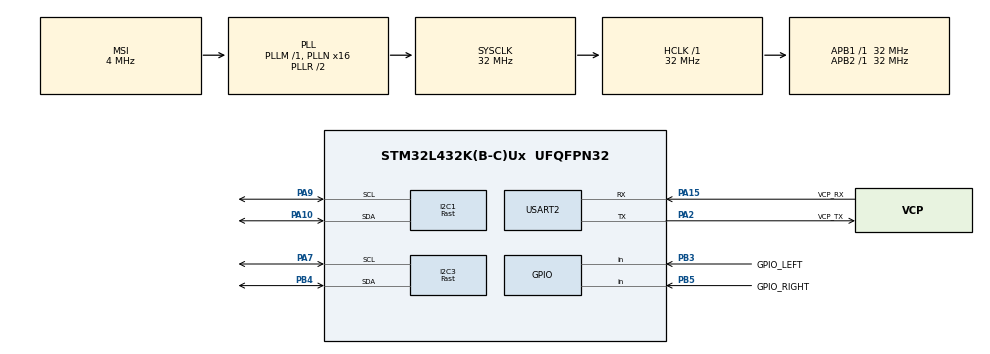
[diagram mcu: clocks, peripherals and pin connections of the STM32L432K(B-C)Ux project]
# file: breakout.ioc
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I2C1.I2C_Rise_Time=0
I2C1.I2C_Speed_Mode=I2C_Fast
I2C1.Timing=0x00300F35
I2C3.I2C_Fall_Time=0
I2C3.I2C_Rise_Time=0
I2C3.I2C_Speed_Mode=I2C_Fast
I2C3.Timing=0x00300F38
Mcu.Family=STM32L4
Mcu.Name=STM32L432K(B-C)Ux
Mcu.Package=UFQFPN32
NVIC.PriorityGroup=NVIC_PRIORITYGROUP_4
PA0.GPIO_Label=MCO [High speed clock in]
PA0.Mode=HSE-External-Clock-Source-for-LittleOrca
PA0.Signal=RCC_CK_IN
PA10.Mode=I2C
PA10.Signal=I2C1_SDA
PA13\ (JTMS-SWDIO).GPIO_Label=SWDIO
PA13\ (JTMS-SWDIO).Mode=Serial_Wire
PA13\ (JTMS-SWDIO).Signal=SYS_JTMS-SWDIO
PA14\ (JTCK-SWCLK).GPIO_Label=SWCLK
PA14\ (JTCK-SWCLK).Mode=Serial_Wire
PA14\ (JTCK-SWCLK).Signal=SYS_JTCK-SWCLK
PA15\ (JTDI).GPIO_Label=VCP_RX
PA15\ (JTDI).Mode=Asynchronous
PA15\ (JTDI).Signal=USART2_RX
PA2.GPIO_Label=VCP_TX
PA2.Mode=Asynchronous
PA2.Signal=USART2_TX
PA7.Mode=I2C
PA7.Signal=I2C3_SCL
PA9.Mode=I2C
PA9.Signal=I2C1_SCL
PB3\ (JTDO-TRACESWO).GPIO_Label=GPIO_LEFT
PB3\ (JTDO-TRACESWO).Signal=GPIO_Input
PB4\ (NJTRST).Mode=I2C
PB4\ (NJTRST).Signal=I2C3_SDA
PB5.GPIO_Label=GPIO_RIGHT
PB5.Signal=GPIO_Input
PC14-OSC32_IN\ (PC14).Mode=LSE-External-Oscillator
PC14-OSC32_IN\ (PC14).Signal=RCC_OSC32_IN
PC15-OSC32_OUT\ (PC15).Mode=LSE-External-Oscillator
PC15-OSC32_OUT\ (PC15).Signal=RCC_OSC32_OUT
ProjectManager.HeapSize=0x200
ProjectManager.StackSize=0x400
ProjectManager.TargetToolchain=STM32CubeIDE
RCC.AHBFreq_Value=32000000
RCC.APB1Freq_Value=32000000
RCC.APB1TimFreq_Value=32000000
RCC.APB2Freq_Value=32000000
RCC.APB2TimFreq_Value=32000000
RCC.CortexFreq_Value=32000000
RCC.HCLKFreq_Value=32000000
RCC.HSE_VALUE=8000000
RCC.HSI16_VALUE=16000000
RCC.HSI48_VALUE=48000000
RCC.HSI_VALUE=16000000
RCC.MSI_VALUE=4000000
RCC.PLLMUL=RCC_PLLMUL_4
RCC.PLLN=16
RCC.SYSCLKFreq_VALUE=32000000
RCC.SYSCLKSource=RCC_SYSCLKSOURCE_PLLCLK
RCC.VCOOutputFreq_Value=64000000
USART2.VirtualMode-Asynchronous=VM_ASYNC
board=NUCLEO-L432KC

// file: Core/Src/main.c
/* USER CODE BEGIN Header */
/**
  ******************************************************************************
  * @file           : main.c
  * @brief          : Main program body
  * @author			: Craig Beaubien
  * 				: CPE 187
  ******************************************************************************
  * @attention
  *
  * Copyright (c) 2025 STMicroelectronics.
  * All rights reserved.
  *
  * This software is licensed under terms that can be found in the LICENSE file
  * in the root directory of this software component.
  * If no LICENSE file comes with this software, it is provided AS-IS.
  *
  ******************************************************************************
  * Main file for Breakout on OLED display. Drivers are in SSD1306* files.
  * Collision logic came from https://learnopengl.com/In-Practice/2D-Game/Collisions/Collision-resolution
  * Math logic inspired by Game Physics Cookbook by Gabor Szauer
  ******************************************************************************
  */
/* USER CODE END Header */
#include "main.h"

/* USER CODE BEGIN Includes */
#include <stdio.h>
#include <stdlib.h>
#include "ssd1306.h"

#include <stdlib.h>
#include <string.h>

#include "Geometry2D.h"
/* USER CODE END Includes */

/* USER CODE BEGIN PTD */
struct _brick
{
	uint8_t x, y;
	SSD1306_COLOR color;
} bricks[GRID_HEIGHT][GRID_WIDTH];

struct
{
	volatile uint8_t x, y, old_x, old_y;
} paddle;

struct
{
	volatile float x, y, old_x, old_y;
} ball;

vec2f ball_velocity = {2.0, -2.0 }
   , INITIAL_BALL_VELOCITY = { 2.0, -2.0 };

enum GameState
{
	  GAME_ACTIVE,
	  GAME_SERVE,
	  GAME_WIN,
	  GAME_OVER
} game_state = GAME_SERVE;

enum DIRECTION
{
	UP = 0,
	RIGHT,
	DOWN,
	LEFT
} ;

uint8_t current_level = 1;

uint16_t score = 0;
/* USER CODE END PTD */

/* USER CODE BEGIN PD */
#define EEPROM_PORT		hi2c3

#define EEPROM_DEVICE_ADDRESS 0xA0
#define EEPROM_MEMORY_ADDRESS 0X1AA0
/* USER CODE END PD */

I2C_HandleTypeDef hi2c1;
I2C_HandleTypeDef hi2c3;

UART_HandleTypeDef huart2;

/* USER CODE BEGIN PV */
uint8_t lives = 3
	  , bricks_left = 0;

/* USER CODE END PV */

void SystemClock_Config(void);
static void MX_GPIO_Init(void);
static void MX_USART2_UART_Init(void);
static void MX_I2C1_Init(void);
static void MX_I2C3_Init(void);

/* USER CODE BEGIN 0 */
void FillRectangle(uint8_t start_x, uint8_t start_y, uint8_t width, uint8_t height, SSD1306_COLOR color)
{
	ssd1306_FillRectangle(start_x, start_y, start_x+width, start_y+height, color);
}

void draw_brick(uint8_t x, uint8_t y, SSD1306_COLOR color)
{
	FillRectangle(bricks[x][y].x - HALF_BLOCK_WIDTH,
				  bricks[x][y].y - HALF_BLOCK_HEIGHT,
				  BLOCK_WIDTH,
				  BLOCK_HEIGHT,
				  color);
}

void reset_ball()
{
	ball.x = paddle.x + HALF_PADDLE_WIDTH;
	ball.y = paddle.y - HALF_PADDLE_HEIGHT;

	ball_velocity = INITIAL_BALL_VELOCITY;
}

uint8_t * get_bricks(uint8_t level)
{
	uint8_t *brick = malloc(LEVEL_SIZE);
	memset(brick, 0, LEVEL_SIZE);

	HAL_I2C_Mem_Read(&EEPROM_PORT							// I2C_HandleTypeDef
			       , EEPROM_DEVICE_ADDRESS						// DevAddress
				   , EEPROM_MEMORY_ADDRESS+(LEVEL_SIZE*level)	// MemAddress
				   , I2C_MEMADD_SIZE_16BIT					// MemAddSize
				   , (uint8_t *)brick						// pData
				   , LEVEL_SIZE								// Size
				   , HAL_MAX_DELAY);						// Timeout

	return brick;
}

SSD1306_COLOR get_color(uint8_t i, uint8_t j, uint8_t *level)
{
	uint8_t byte = ((i*GRID_WIDTH)+j)/8;
	j -= (byte%2)*8;

	return (SSD1306_COLOR)((level[byte] >> (8-j-1)) & 1);
}

void setup_level(uint8_t level)
{
	uint8_t *brick = get_bricks(level-1);
	for (uint8_t i = 0; i < GRID_HEIGHT; i++)
		for (uint8_t j = 0; j < GRID_WIDTH; j++)
		{
			bricks[i][j].x = (j * BLOCK_WIDTH);
			bricks[i][j].y = (i * BLOCK_HEIGHT) + GRID_START;
			bricks[i][j].color = get_color(i, j, brick);
			if (bricks[i][j].color == White)
				bricks_left++;
		}
	free(brick);
}

void init()
{
	bricks_left = 0;

	current_level = 1;

	setup_level(current_level);

	paddle.x = 30;
	paddle.y = 60;

	reset_ball();

	ssd1306_Fill(Black);

	lives = 3;

	score = 0;
}

void draw_grid()
{
	for (uint8_t i = 0; i < GRID_HEIGHT; i++)
		for (uint8_t j = 0; j < GRID_WIDTH; j++)
			FillRectangle(bricks[i][j].x, bricks[i][j].y, BLOCK_WIDTH, BLOCK_HEIGHT, bricks[i][j].color);
}

void draw_paddle()
{
	FillRectangle(paddle.old_x,
				  paddle.old_y,
				  PADDLE_WIDTH,
				  PADDLE_HEIGHT,
				  Black);

	FillRectangle(paddle.x,
				  paddle.y,
				  PADDLE_WIDTH,
				  PADDLE_HEIGHT,
				  White);
}

void draw_ball()
{
	ssd1306_FillCircle((int)ball.old_x, (int)ball.old_y, BALL_RADIUS, Black);
	ssd1306_FillCircle((int)ball.x, 	(int)ball.y, 	 BALL_RADIUS, White);
}

void write_status_line(uint8_t max_level)
{
	  ssd1306_SetCursor(1, 1);
	  char status[20];

	  sprintf(status, "Lives: %1hu  %1hu/%1hu  %5u", lives-1, current_level, max_level, score);
	  ssd1306_WriteString(status, Font_6x8, White);
}

uint8_t read_buttons()
{
	return ((HAL_GPIO_ReadPin(GPIOB, GPIO_LEFT_Pin) << 1) | HAL_GPIO_ReadPin(GPIOB, GPIO_RIGHT_Pin));
}

void update_ball()
{
	if (GAME_SERVE == game_state)
	{
	  ball.old_x = ball.x;
	  ball.old_y = ball.y;
	  ball.x = paddle.x + HALF_PADDLE_WIDTH;
	  return;
	}

	ball.old_x = ball.x;
	ball.old_y = ball.y;

	ball.x += ball_velocity.x;
	if (ball.x <= LEFT_BOUND)
	{
		ball_velocity.x *= -1;
		ball.x = LEFT_BOUND + 1;
	}
	else if (ball.x >= (SSD1306_WIDTH - BALL_RADIUS))
		ball_velocity.x *= -1;

	ball.y += ball_velocity.y;
	if (ball.y <= UPPER_BOUND)
	{
		ball_velocity.y *= -1;
		ball.y = UPPER_BOUND + 1;
	}
	else if (ball.y >= SSD1306_HEIGHT)
	{
	  game_state = GAME_SERVE;
	  reset_ball();

	  lives -= 1;
	}
}

void update_paddle()
{
	uint8_t multiplier = 0;
	switch (read_buttons())
	{
	  case 3: game_state = GAME_ACTIVE;
			  break;
	  case 2: multiplier = -1;
			  break;
	  case 1: multiplier = 1;
			  break;
	  default:multiplier = 0;
	}
	paddle.old_x = paddle.x;
	paddle.old_y = paddle.y;
	paddle.x += (4 * multiplier);

	if (paddle.x >= SSD1306_WIDTH - PADDLE_WIDTH)
		paddle.x = SSD1306_WIDTH - PADDLE_WIDTH;
	else if (paddle.x <= LEFT_BOUND)
		paddle.x = LEFT_BOUND;
}

enum DIRECTION vector_direction(vec2f *target)
{
    vec2f compass[] = {
        make_vec2f(0.0f, 1.0f),	// up
		make_vec2f(1.0f, 0.0f),	// right
		make_vec2f(0.0f, -1.0f),	// down
		make_vec2f(-1.0f, 0.0f)	// left
    };

    float max = 0.0f;
    unsigned int best_match = -1;

    for (unsigned int i = 0; i < 4; i++)
    {
    	Normalizef(target);
        float dot_product = Dotf(target, &compass[i]);
        if (dot_product > max)
        {
            max = dot_product;
            best_match = i;
        }
    }
    return best_match;
}

uint8_t check_collision(struct _brick brick, enum DIRECTION *dir, vec2f *diff)
{
    // get center point circle first
    vec2f center;
    center.x = ball.x;
    center.y = ball.y;

    // calculate AABB info (center, half-extents)
    vec2f aabb_half_extents = make_vec2f(HALF_BLOCK_WIDTH, HALF_BLOCK_HEIGHT),
    	  aabb_half_extents2 = make_vec2f((0-(float)HALF_BLOCK_WIDTH), (0-(float)HALF_BLOCK_HEIGHT));

    vec2f aabb_center = make_vec2f(
        brick.x + HALF_BLOCK_WIDTH,
        brick.y + HALF_BLOCK_HEIGHT
    );

    // get difference vector between both centers
    *diff = Subtractf(&center, &aabb_center);
    vec2f clamped = clamp(*diff, aabb_half_extents2, aabb_half_extents);

    // add clamped value to AABB_center and we get the value of box closest to circle
    vec2f closest = Addf(&aabb_center, &clamped);

    // retrieve vector between center circle and closest point AABB and check if length <= radius
    *diff = Subtractf(&closest, &center);

    // not <= since in that case a collision also occurs when object ball exactly
    // touches object brick, which they are at the end of each collision resolution stage.
    if (Magnitudef(diff) < BALL_RADIUS)
	{
    	*dir = vector_direction(diff);
    	return TRUE;
   	}

    return FALSE;
}

void do_collisions()
{
	enum DIRECTION dir;
	vec2f diff;

	for (uint8_t row = 0; row < GRID_HEIGHT; row++)
	{
		for (uint8_t col = 0; col < GRID_WIDTH; col++)
		{
			if (bricks[row][col].color == White)
			{
				if (TRUE == check_collision(bricks[row][col], &dir, &diff))
				{
					bricks[row][col].color = Black;
					bricks_left--;
					score += 10;

                    if ((LEFT == dir) || (RIGHT == dir))
                    {
                        ball_velocity.x = -ball_velocity.x;
                        float penetration = BALL_RADIUS - abs(diff.x);
                        if (LEFT == dir)
                            ball.x += penetration;
                        else
                            ball.x -= penetration;
                    }
                    else
                    {
                    	ball_velocity.y = -ball_velocity.y;
                        float penetration = BALL_RADIUS - abs(diff.y);
                        if (UP == dir)
                            ball.y += penetration;
                        else
                            ball.y -= penetration;
                    }
				}
			}
		}
	}

	if ((ball.x >= paddle.x)
		&& (ball.x <= paddle.x + PADDLE_WIDTH)
		&& (abs(ball.y - paddle.y) <= (BALL_RADIUS)))
	{
        float centerBoard = (paddle.x + HALF_PADDLE_WIDTH);
        float distance = abs((ball.x) - centerBoard);
        float percentage = distance / (HALF_PADDLE_WIDTH);

        // then move accordingly
        float strength = 2.0f;
        vec2f oldVelocity = ball_velocity;
        ball_velocity.x = ball_velocity.x * percentage * strength;
        vec2f t = Normalizedf(&ball_velocity);

        // keep speed consistent over both axes (multiply by length of old velocity, so total strength is not changed)
        ball_velocity = Multiplyf(&t, Magnitudef(&oldVelocity));

        if (IsEqual(&ball_velocity, &oldVelocity))
        	ball_velocity = INITIAL_BALL_VELOCITY;
        else
			// fix sticky paddle
			ball_velocity.y = -1.0f * abs(oldVelocity.y);
	}
}

void write_end_message(char *text)
{
	ssd1306_SetCursor(64-((strlen(text)/2)*Font_11x18.FontWidth), 32-(Font_11x18.FontHeight/2));
	ssd1306_WriteString(text, Font_11x18, White);
}

void display_end_message()
{
	if (bricks_left == 0)
		write_end_message("YOU WIN!");
	else
		write_end_message("GAME OVER");
}

void write_levels()
{
	uint8_t levels[] = {
		//  row 1		row 2		row 3		row 4		row 5
			0xff, 0xff,	0xff, 0xff,	0xff, 0xff,	0xff, 0xff,	0xff, 0xff,  // level 1
//			0xff, 0xff, 0xce, 0x73, 0xce, 0x73, 0xce, 0x73, 0xff, 0xff,  // level 2
//			0xff, 0xff, 0xaa, 0xab, 0xd5, 0x55, 0xaa, 0xab, 0xff, 0xff,  // level 3
			0xf8, 0x1f, 0xf8, 0x1f, 0xf8, 0x1f, 0xf8, 0x1f, 0xf8, 0x1f,  // level 4
			0xbb, 0xbb, 0xa2, 0xa3, 0xa3, 0xbb, 0xa2, 0x23, 0xba, 0x3b,
	};

	HAL_I2C_Mem_Write(&EEPROM_PORT			// I2C_HandleTypeDef
		  	  	  , EEPROM_DEVICE_ADDRESS	// DevAddress
				  , EEPROM_MEMORY_ADDRESS	// MemAddress
				  , I2C_MEMADD_SIZE_16BIT	// MemAddSize
				  , (uint8_t *)levels		// pData
				  , 30			// Size
				  , HAL_MAX_DELAY);			// Timeout
}

/* USER CODE END 0 */

int main(void)
{

  /* MCU Configuration--------------------------------------------------------*/

  /* Reset of all peripherals, Initializes the Flash interface and the Systick. */
  HAL_Init();

  /* Configure the system clock */
  SystemClock_Config();

  /* Initialize all configured peripherals */
  MX_GPIO_Init();
  MX_USART2_UART_Init();
  MX_I2C1_Init();
  MX_I2C3_Init();
  /* USER CODE BEGIN 2 */
  ssd1306_Init();

//  write_levels();
  init();
  /* USER CODE END 2 */

  /* Infinite loop */
  /* USER CODE BEGIN WHILE */
  uint8_t max_levels = 3;

  while (1)
  {
    /* USER CODE END WHILE */

    /* USER CODE BEGIN 3 */
	  if (GAME_OVER != game_state)
	  {
		  write_status_line(max_levels);
		  update_paddle();

		  update_ball();

		  if (GAME_ACTIVE == game_state)
			  do_collisions();

		  draw_grid();
		  draw_paddle();
		  draw_ball();

		  if (bricks_left == 0)
		  {
			  if (current_level < max_levels)
			  {
				  current_level++;
				  setup_level(current_level);
				  reset_ball();
				  game_state = GAME_SERVE;
			  }
			  else
				  game_state = GAME_WIN;
		  }
		  if (lives == 0)
			  game_state = GAME_OVER;
	  }

	  if (GAME_OVER == game_state)
	  {
		  display_end_message();
		  if (read_buttons() == 3)
		  {
			  game_state = GAME_SERVE;
			  init();
		  }
	  }
	  ssd1306_UpdateScreen();
	  HAL_Delay(50);
  }
  /* USER CODE END 3 */
}

void SystemClock_Config(void)
{
  RCC_OscInitTypeDef RCC_OscInitStruct = {0};
  RCC_ClkInitTypeDef RCC_ClkInitStruct = {0};

  /** Configure the main internal regulator output voltage
  */
  if (HAL_PWREx_ControlVoltageScaling(PWR_REGULATOR_VOLTAGE_SCALE1) != HAL_OK)
  {
    Error_Handler();
  }

  /** Configure LSE Drive Capability
  */
  HAL_PWR_EnableBkUpAccess();
  __HAL_RCC_LSEDRIVE_CONFIG(RCC_LSEDRIVE_LOW);

  /** Initializes the RCC Oscillators according to the specified parameters
  * in the RCC_OscInitTypeDef structure.
  */
  RCC_OscInitStruct.OscillatorType = RCC_OSCILLATORTYPE_LSE|RCC_OSCILLATORTYPE_MSI;
  RCC_OscInitStruct.LSEState = RCC_LSE_ON;
  RCC_OscInitStruct.MSIState = RCC_MSI_ON;
  RCC_OscInitStruct.MSICalibrationValue = 0;
  RCC_OscInitStruct.MSIClockRange = RCC_MSIRANGE_6;
  RCC_OscInitStruct.PLL.PLLState = RCC_PLL_ON;
  RCC_OscInitStruct.PLL.PLLSource = RCC_PLLSOURCE_MSI;
  RCC_OscInitStruct.PLL.PLLM = 1;
  RCC_OscInitStruct.PLL.PLLN = 16;
  RCC_OscInitStruct.PLL.PLLP = RCC_PLLP_DIV7;
  RCC_OscInitStruct.PLL.PLLQ = RCC_PLLQ_DIV2;
  RCC_OscInitStruct.PLL.PLLR = RCC_PLLR_DIV2;
  if (HAL_RCC_OscConfig(&RCC_OscInitStruct) != HAL_OK)
  {
    Error_Handler();
  }

  /** Initializes the CPU, AHB and APB buses clocks
  */
  RCC_ClkInitStruct.ClockType = RCC_CLOCKTYPE_HCLK|RCC_CLOCKTYPE_SYSCLK
                              |RCC_CLOCKTYPE_PCLK1|RCC_CLOCKTYPE_PCLK2;
  RCC_ClkInitStruct.SYSCLKSource = RCC_SYSCLKSOURCE_PLLCLK;
  RCC_ClkInitStruct.AHBCLKDivider = RCC_SYSCLK_DIV1;
  RCC_ClkInitStruct.APB1CLKDivider = RCC_HCLK_DIV1;
  RCC_ClkInitStruct.APB2CLKDivider = RCC_HCLK_DIV1;

  if (HAL_RCC_ClockConfig(&RCC_ClkInitStruct, FLASH_LATENCY_1) != HAL_OK)
  {
    Error_Handler();
  }

  /** Enable MSI Auto calibration
  */
  HAL_RCCEx_EnableMSIPLLMode();
}

static void MX_I2C1_Init(void)
{

  hi2c1.Instance = I2C1;
  hi2c1.Init.Timing = 0x00300F35;
  hi2c1.Init.OwnAddress1 = 0;
  hi2c1.Init.AddressingMode = I2C_ADDRESSINGMODE_7BIT;
  hi2c1.Init.DualAddressMode = I2C_DUALADDRESS_DISABLE;
  hi2c1.Init.OwnAddress2 = 0;
  hi2c1.Init.OwnAddress2Masks = I2C_OA2_NOMASK;
  hi2c1.Init.GeneralCallMode = I2C_GENERALCALL_DISABLE;
  hi2c1.Init.NoStretchMode = I2C_NOSTRETCH_DISABLE;
  if (HAL_I2C_Init(&hi2c1) != HAL_OK)
  {
    Error_Handler();
  }

  /** Configure Analogue filter
  */
  if (HAL_I2CEx_ConfigAnalogFilter(&hi2c1, I2C_ANALOGFILTER_ENABLE) != HAL_OK)
  {
    Error_Handler();
  }

  /** Configure Digital filter
  */
  if (HAL_I2CEx_ConfigDigitalFilter(&hi2c1, 0) != HAL_OK)
  {
    Error_Handler();
  }

}

static void MX_I2C3_Init(void)
{

  hi2c3.Instance = I2C3;
  hi2c3.Init.Timing = 0x00300F38;
  hi2c3.Init.OwnAddress1 = 0;
  hi2c3.Init.AddressingMode = I2C_ADDRESSINGMODE_7BIT;
  hi2c3.Init.DualAddressMode = I2C_DUALADDRESS_DISABLE;
  hi2c3.Init.OwnAddress2 = 0;
  hi2c3.Init.OwnAddress2Masks = I2C_OA2_NOMASK;
  hi2c3.Init.GeneralCallMode = I2C_GENERALCALL_DISABLE;
  hi2c3.Init.NoStretchMode = I2C_NOSTRETCH_DISABLE;
  if (HAL_I2C_Init(&hi2c3) != HAL_OK)
  {
    Error_Handler();
  }

  /** Configure Analogue filter
  */
  if (HAL_I2CEx_ConfigAnalogFilter(&hi2c3, I2C_ANALOGFILTER_ENABLE) != HAL_OK)
  {
    Error_Handler();
  }

  /** Configure Digital filter
  */
  if (HAL_I2CEx_ConfigDigitalFilter(&hi2c3, 0) != HAL_OK)
  {
    Error_Handler();
  }

}

static void MX_USART2_UART_Init(void)
{

  huart2.Instance = USART2;
  huart2.Init.BaudRate = 115200;
  huart2.Init.WordLength = UART_WORDLENGTH_8B;
  huart2.Init.StopBits = UART_STOPBITS_1;
  huart2.Init.Parity = UART_PARITY_NONE;
  huart2.Init.Mode = UART_MODE_TX_RX;
  huart2.Init.HwFlowCtl = UART_HWCONTROL_NONE;
  huart2.Init.OverSampling = UART_OVERSAMPLING_16;
  huart2.Init.OneBitSampling = UART_ONE_BIT_SAMPLE_DISABLE;
  huart2.AdvancedInit.AdvFeatureInit = UART_ADVFEATURE_NO_INIT;
  if (HAL_UART_Init(&huart2) != HAL_OK)
  {
    Error_Handler();
  }

}

static void MX_GPIO_Init(void)
{
  GPIO_InitTypeDef GPIO_InitStruct = {0};

  /* GPIO Ports Clock Enable */
  __HAL_RCC_GPIOC_CLK_ENABLE();
  __HAL_RCC_GPIOA_CLK_ENABLE();
  __HAL_RCC_GPIOB_CLK_ENABLE();

  /*Configure GPIO pins : GPIO_LEFT_Pin GPIO_RIGHT_Pin */
  GPIO_InitStruct.Pin = GPIO_LEFT_Pin|GPIO_RIGHT_Pin;
  GPIO_InitStruct.Mode = GPIO_MODE_INPUT;
  GPIO_InitStruct.Pull = GPIO_NOPULL;
  HAL_GPIO_Init(GPIOB, &GPIO_InitStruct);

}

void Error_Handler(void)
{
  __disable_irq();
  while (1)
  {
  }
}
